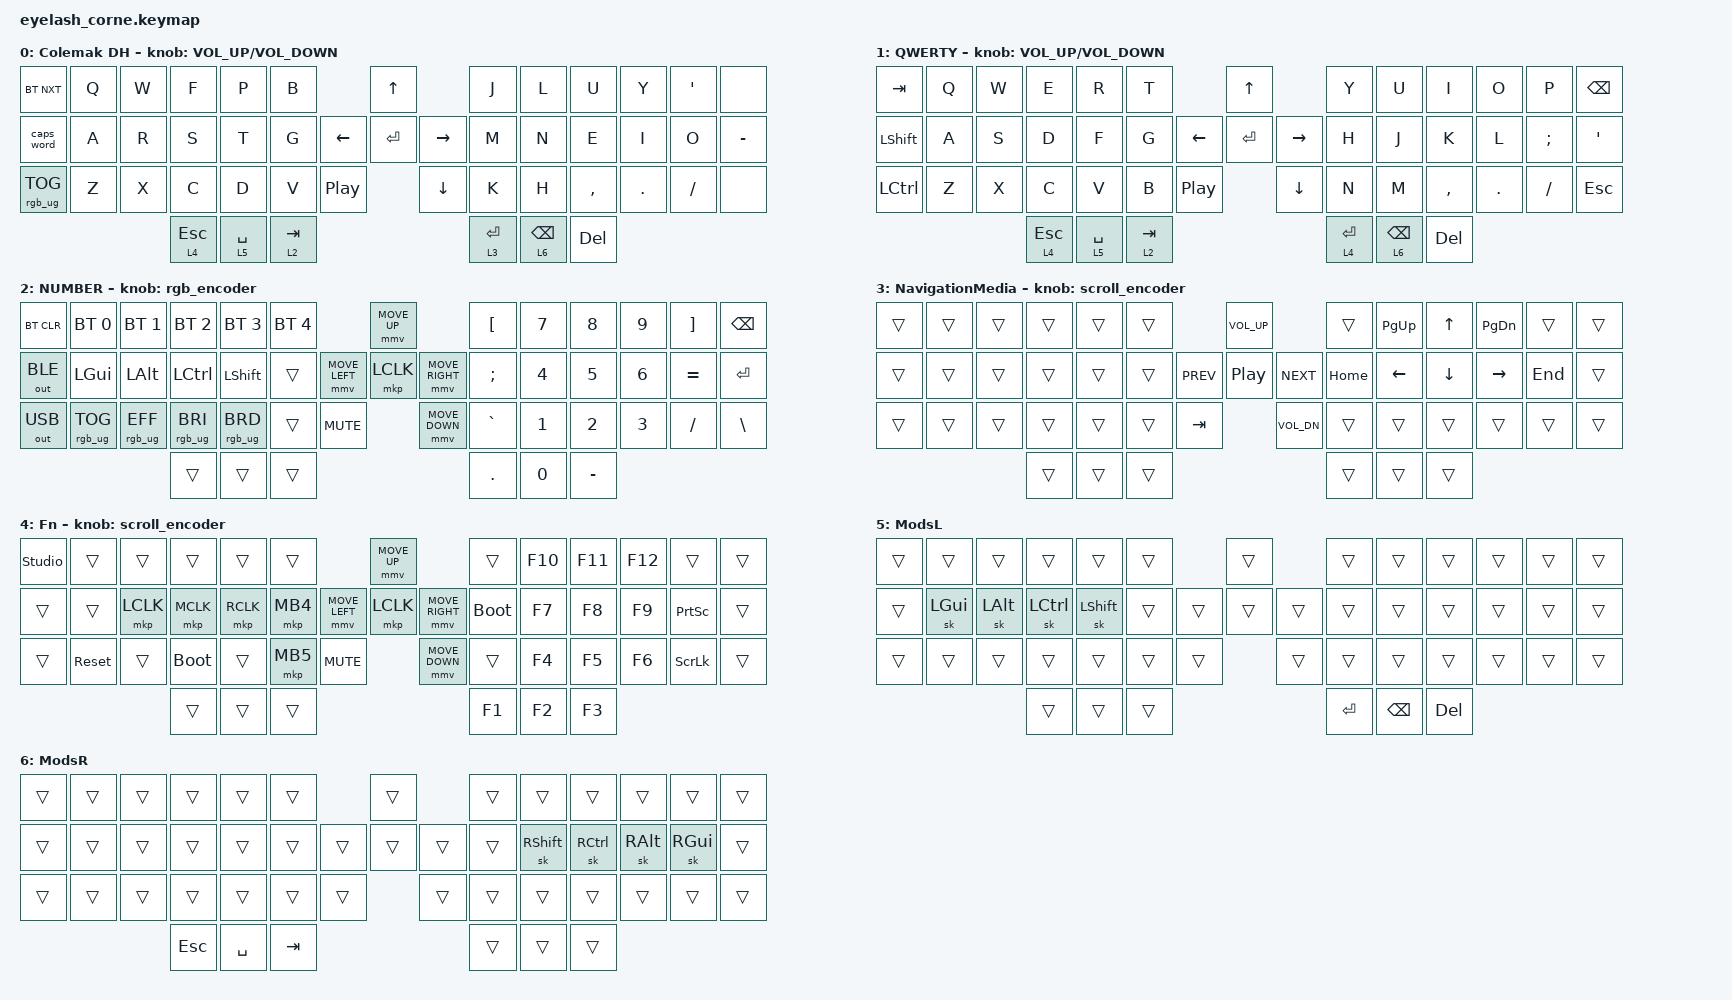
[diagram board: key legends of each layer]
#define ZMK_POINTING_DEFAULT_MOVE_VAL 1200  // 600
#define ZMK_POINTING_DEFAULT_SCRL_VAL 25   // 10

#include <input/processors.dtsi>
#include <zephyr/dt-bindings/input/input-event-codes.h>
#include <behaviors.dtsi>
#include <dt-bindings/zmk/bt.h>
#include <dt-bindings/zmk/keys.h>
#include <dt-bindings/zmk/outputs.h>
#include <dt-bindings/zmk/pointing.h>
#include <dt-bindings/zmk/rgb.h>

&mmv_input_listener { input-processors = <&zip_xy_scaler 2 1>; };

&msc_input_listener { input-processors = <&zip_scroll_scaler 2 1>; };

&msc {
    acceleration-exponent = <1>;      // 0
    time-to-max-speed-ms = <100>;       // 300
    delay-ms = <0>;                   // 0
};

&mmv {
    time-to-max-speed-ms = <500>;
    acceleration-exponent = <1>;
    trigger-period-ms = <16>;
};

&soft_off { hold-time-ms = <2000>; };

/ {
    behaviors {
        td0: td0 {
            compatible = "zmk,behavior-tap-dance";
            display-name = "Shift/Caps Lock Tap Dance";
            #binding-cells = <0>;
            bindings = <&kp LEFT_SHIFT>, <&kp CAPS>;
        };
    };

    rgb_encoder: rgb_encoder {
        compatible = "zmk,behavior-sensor-rotate";
        #sensor-binding-cells = <0>;
        bindings = <&rgb_ug RGB_BRI>, <&rgb_ug RGB_BRD>;
    };

    scroll_encoder: scroll_encoder {
        compatible = "zmk,behavior-sensor-rotate";
        #sensor-binding-cells = <0>;
        bindings = <&msc SCRL_DOWN>, <&msc SCRL_UP>;

        tap-ms = <100>;
    };

    combos {
        compatible = "zmk,combos";

        softoff {
            bindings = <&soft_off>;
            key-positions = <1 15 29>;
        };

        qwerty {
            bindings = <&to 1>;
            key-positions = <0 13>;
        };

        ColemakDH {
            bindings = <&to 0>;
            key-positions = <13 28>;
        };
    };

    keymap {
        compatible = "zmk,keymap";

        Main {
            display-name = "Colemak DH";
            bindings = <
&bt BT_NXT       &kp Q  &kp W  &kp F         &kp P        &kp B                                    &kp UP                &kp J        &kp L            &kp U      &kp Y    &kp APOSTROPHE  &none
&caps_word       &kp A  &kp R  &kp S         &kp T        &kp G                          &kp LEFT  &kp ENTER  &kp RIGHT  &kp M        &kp N            &kp E      &kp I    &kp O           &kp MINUS
&rgb_ug RGB_TOG  &kp Z  &kp X  &kp C         &kp D        &kp V      &kp C_PLAY_PAUSE              &kp DOWN              &kp K        &kp H            &kp COMMA  &kp DOT  &kp FSLH        &none
                               &lt 4 ESCAPE  &lt 5 SPACE  &lt 2 TAB                                                      &lt 3 ENTER  &lt 6 BACKSPACE  &kp DEL
            >;

            sensor-bindings = <&inc_dec_kp C_VOLUME_UP C_VOLUME_DOWN>;
        };

        QWERTY {
            display-name = "QWERTY";
            bindings = <
&kp TAB         &kp Q  &kp W  &kp E      &kp R        &kp T                            &kp UP                &kp Y        &kp U            &kp I      &kp O    &kp P     &kp BSPC
&kp LEFT_SHIFT  &kp A  &kp S  &kp D      &kp F        &kp G                  &kp LEFT  &kp ENTER  &kp RIGHT  &kp H        &kp J            &kp K      &kp L    &kp SEMI  &kp SQT
&kp LCTRL       &kp Z  &kp X  &kp C      &kp V        &kp B      &kp C_PP              &kp DOWN              &kp N        &kp M            &kp COMMA  &kp DOT  &kp FSLH  &kp ESC
                              &lt 4 ESC  &lt 5 SPACE  &lt 2 TAB                                              &lt 4 ENTER  &lt 6 BACKSPACE  &kp DEL
            >;

            sensor-bindings = <&inc_dec_kp C_VOLUME_UP C_VOLUME_DOWN>;
        };

        Numpad {
            display-name = "NUMBER";
            bindings = <
&bt BT_CLR    &bt BT_SEL 0     &bt BT_SEL 1     &bt BT_SEL 2     &bt BT_SEL 3     &bt BT_SEL 4                                &mmv MOVE_UP                     &kp LBKT   &kp N7  &kp N8     &kp N9  &kp RBKT   &kp BSPC
&out OUT_BLE  &kp LEFT_GUI     &kp LEFT_ALT     &kp LCTRL        &kp LEFT_SHIFT   &trans                      &mmv MOVE_LEFT  &mkp LCLK       &mmv MOVE_RIGHT  &kp SEMI   &kp N4  &kp N5     &kp N6  &kp EQUAL  &kp ENTER
&out OUT_USB  &rgb_ug RGB_TOG  &rgb_ug RGB_EFF  &rgb_ug RGB_BRI  &rgb_ug RGB_BRD  &trans        &kp C_MUTE                    &mmv MOVE_DOWN                   &kp GRAVE  &kp N1  &kp N2     &kp N3  &kp SLASH  &kp BACKSLASH
                                                &trans           &trans           &trans                                                                       &kp DOT    &kp N0  &kp MINUS
            >;

            sensor-bindings = <&rgb_encoder>;
        };

        NavigationMedia {
            bindings = <
&trans  &trans  &trans  &trans  &trans  &trans                         &kp C_VOLUME_UP               &trans    &kp PG_UP  &kp UP    &kp PG_DN  &trans   &trans
&trans  &trans  &trans  &trans  &trans  &trans             &kp C_PREV  &kp C_PLAY_PAUSE  &kp C_NEXT  &kp HOME  &kp LEFT   &kp DOWN  &kp RIGHT  &kp END  &trans
&trans  &trans  &trans  &trans  &trans  &trans  &kp TAB                &kp C_VOL_DN                  &trans    &trans     &trans    &trans     &trans   &trans
                        &trans  &trans  &trans                                                       &trans    &trans     &trans
            >;

            sensor-bindings = <&scroll_encoder>;
        };

        Function {
            display-name = "Fn";
            bindings = <
&studio_unlock  &trans      &trans     &trans       &trans     &trans                                  &mmv MOVE_UP                     &trans       &kp F10  &kp F11  &kp F12  &trans           &trans
&trans          &trans      &mkp LCLK  &mkp MCLK    &mkp RCLK  &mkp MB4                &mmv MOVE_LEFT  &mkp LCLK       &mmv MOVE_RIGHT  &bootloader  &kp F7   &kp F8   &kp F9   &kp PRINTSCREEN  &trans
&trans          &sys_reset  &trans     &bootloader  &trans     &mkp MB5  &kp C_MUTE                    &mmv MOVE_DOWN                   &trans       &kp F4   &kp F5   &kp F6   &kp SCROLLLOCK   &trans
                                       &trans       &trans     &trans                                                                   &kp F1       &kp F2   &kp F3
            >;

            sensor-bindings = <&scroll_encoder>;
        };

        ModsL {
            bindings = <
&trans  &trans        &trans        &trans     &trans          &trans                    &trans          &trans     &trans         &trans   &trans  &trans  &trans
&trans  &sk LEFT_GUI  &sk LEFT_ALT  &sk LCTRL  &sk LEFT_SHIFT  &trans            &trans  &trans  &trans  &trans     &trans         &trans   &trans  &trans  &trans
&trans  &trans        &trans        &trans     &trans          &trans  &trans            &trans          &trans     &trans         &trans   &trans  &trans  &trans
                                    &trans     &trans          &trans                                    &kp ENTER  &kp BACKSPACE  &kp DEL
            >;
        };

        ModsR {
            bindings = <
&trans  &trans  &trans  &trans   &trans     &trans                     &trans          &trans  &trans           &trans     &trans         &trans         &trans
&trans  &trans  &trans  &trans   &trans     &trans             &trans  &trans  &trans  &trans  &sk RIGHT_SHIFT  &sk RCTRL  &sk RIGHT_ALT  &sk RIGHT_GUI  &trans
&trans  &trans  &trans  &trans   &trans     &trans   &trans            &trans          &trans  &trans           &trans     &trans         &trans         &trans
                        &kp ESC  &kp SPACE  &kp TAB                                    &trans  &trans           &trans
            >;
        };
    };
};
